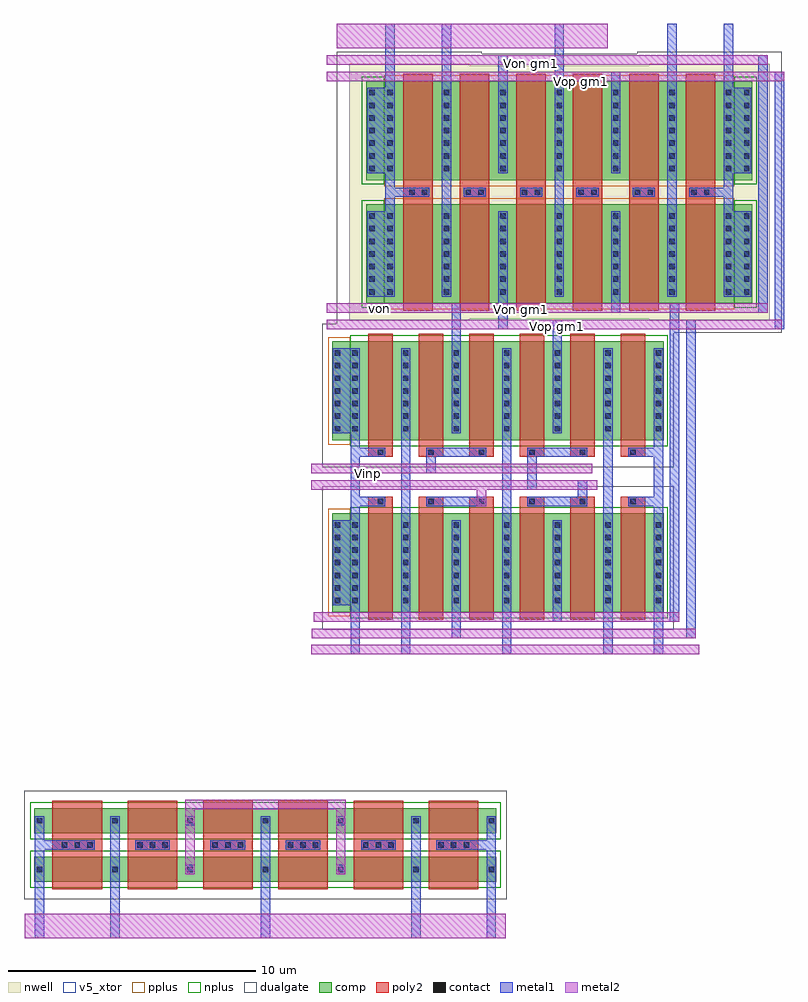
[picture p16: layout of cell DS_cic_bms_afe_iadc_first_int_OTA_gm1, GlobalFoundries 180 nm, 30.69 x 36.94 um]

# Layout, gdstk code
from math import pi, radians
import gdstk
lib = gdstk.Library(unit=1e-6, precision=5e-09)
def R(c, l, rs):  # rectangles x0, y0, x1, y1
    for r in rs: c.add(gdstk.rectangle(r[:2], r[2:], *l))
def A(c, l, x, y, w, h, nx, ny, dx, dy):  # array of equal rectangles
    R(c, l, [(x+i*dx, y+j*dy, x+i*dx+w, y+j*dy+h) for i in range(nx) for j in range(ny)])
nwell = (21, 0)
comp = (22, 0)
poly2 = (30, 0)
pplus = (31, 0)
nplus = (32, 0)
contact = (33, 0)
metal1 = (34, 0)
metal2 = (36, 0)
dualgate = (55, 0)
v5_xtor = (112, 1)

pfet_1_10 = lib.new_cell('pfet$1$10')
R(pfet_1_10, nwell, [(-1.15,-0.69,3.7,4.69)])
R(pfet_1_10, comp, [(-0.46,0,0,4), (0,0,1.82,4), (1.82,0,2.28,4), (2.28,0,3.01,4)])
R(pfet_1_10, poly2, [(0.31,-0.3,1.51,4.3), (0.31,4.3,1.51,4.68)])
R(pfet_1_10, pplus, [(-0.63,-0.24,2.28,4.24)])
R(pfet_1_10, nplus, [(2.28,-0.17,3.18,4.17)])
A(pfet_1_10, contact, -0.34, 0.36, 0.22, 0.22, 1, 7, 0, 0.51)
A(pfet_1_10, contact, 1.94, 0.36, 0.22, 0.22, 1, 7, 0, 0.51)
A(pfet_1_10, contact, 2.67, 0.36, 0.22, 0.22, 1, 7, 0, 0.51)
R(pfet_1_10, contact, [(0.545,4.38,0.765,4.6), (1.055,4.38,1.275,4.6)])
R(pfet_1_10, metal1, [(-0.42,0.28,-0.04,3.72), (1.86,0.28,2.24,3.72), (2.59,0.28,2.97,3.72), (0.465,4.3,1.355,4.68)])
R(pfet_1_10, dualgate, [(-1.65,-1.19,4.2,5.19)])
R(pfet_1_10, v5_xtor, [(-1.65,-1.19,4.2,5.19)])

nfet_1_2 = lib.new_cell('nfet$1$2')
R(nfet_1_2, comp, [(-0.42,0,0,4), (0,0,1.62,4), (1.62,0,2.04,4), (2.04,0,2.75,4)])
R(nfet_1_2, poly2, [(0.31,-0.3,1.31,4.3), (0.31,4.3,1.31,4.66)])
R(nfet_1_2, pplus, [(2.04,-0.17,2.92,4.17)])
R(nfet_1_2, nplus, [(-0.59,-0.24,2.04,4.24)])
A(nfet_1_2, contact, -0.32, 0.36, 0.22, 0.22, 1, 7, 0, 0.51)
A(nfet_1_2, contact, 1.72, 0.36, 0.22, 0.22, 1, 7, 0, 0.51)
A(nfet_1_2, contact, 2.43, 0.36, 0.22, 0.22, 1, 7, 0, 0.51)
R(nfet_1_2, contact, [(0.7,4.37,0.92,4.59)])
R(nfet_1_2, metal1, [(-0.4,0.28,-0.02,3.72), (1.64,0.28,2.02,3.72), (2.35,0.28,2.73,3.72), (0.62,4.29,1,4.67)])
R(nfet_1_2, dualgate, [(-0.84,-0.71,3.17,5.08)])
R(nfet_1_2, v5_xtor, [(-0.84,-0.71,3.17,5.08)])

nfet_14 = lib.new_cell('nfet$14')
R(nfet_14, comp, [(-0.42,0,0,4), (0,0,1.62,4), (1.62,0,2.04,4)])
R(nfet_14, poly2, [(0.31,-0.3,1.31,4.3), (0.31,4.3,1.31,4.66)])
R(nfet_14, nplus, [(-0.59,-0.24,2.21,4.24)])
A(nfet_14, contact, -0.32, 0.36, 0.22, 0.22, 1, 7, 0, 0.51)
A(nfet_14, contact, 1.72, 0.36, 0.22, 0.22, 1, 7, 0, 0.51)
R(nfet_14, contact, [(0.7,4.37,0.92,4.59)])
R(nfet_14, metal1, [(-0.4,0.28,-0.02,3.72), (1.64,0.28,2.02,3.72), (0.62,4.29,1,4.67)])
R(nfet_14, dualgate, [(-0.84,-0.71,2.46,5.08)])
R(nfet_14, v5_xtor, [(-0.84,-0.71,2.46,5.08)])

nfet_6_6 = lib.new_cell('nfet$6$6')
R(nfet_6_6, comp, [(-0.42,0,0,1), (0,0,2.62,1), (2.62,0,3.04,1)])
R(nfet_6_6, poly2, [(0.31,-0.3,2.31,1.3), (0.31,1.3,2.31,1.66)])
R(nfet_6_6, nplus, [(-0.59,-0.24,3.21,1.24)])
A(nfet_6_6, contact, 0.69, 1.37, 0.22, 0.22, 3, 1, 0.51, 0)
R(nfet_6_6, contact, [(-0.32,0.39,-0.1,0.61), (2.72,0.39,2.94,0.61)])
R(nfet_6_6, metal1, [(-0.4,0.31,-0.02,0.69), (2.64,0.31,3.02,0.69), (0.61,1.29,2.01,1.67)])
R(nfet_6_6, dualgate, [(-0.84,-0.71,3.46,2.08)])
R(nfet_6_6, v5_xtor, [(-0.84,-0.71,3.46,2.08)])

pfet_16 = lib.new_cell('pfet$16')
R(pfet_16, nwell, [(-1.07,-0.61,2.89,4.61)])
R(pfet_16, comp, [(-0.46,0,0,4), (0,0,1.82,4), (1.82,0,2.28,4)])
R(pfet_16, poly2, [(0.31,-0.3,1.51,4.3), (0.31,4.3,1.51,4.68)])
R(pfet_16, pplus, [(-0.63,-0.24,2.45,4.24)])
A(pfet_16, contact, -0.34, 0.36, 0.22, 0.22, 1, 7, 0, 0.51)
A(pfet_16, contact, 1.94, 0.36, 0.22, 0.22, 1, 7, 0, 0.51)
R(pfet_16, contact, [(0.545,4.38,0.765,4.6), (1.055,4.38,1.275,4.6)])
R(pfet_16, metal1, [(-0.42,0.28,-0.04,3.72), (1.86,0.28,2.24,3.72), (0.465,4.3,1.355,4.68)])
R(pfet_16, dualgate, [(-1.57,-1.11,3.39,5.11), (-0.88,-0.71,2.7,5.09)])
R(pfet_16, v5_xtor, [(-1.57,-1.11,3.39,5.11), (-0.88,-0.71,2.7,5.09)])

ds_cic_bms_afe_iadc_firs = lib.new_cell('DS_cic_bms_afe_iadc_first_int_OTA_gm1')
R(ds_cic_bms_afe_iadc_firs, metal1, [(84.995,93.87,86.085,97.31), (84.995,100.81,86.085,104.25), (86.375,106.34,87.485,109.78), (100.785,106.34,101.895,109.78), (86.375,111.32,87.485,114.76), (100.785,111.32,101.895,114.76)])
ds_cic_bms_afe_iadc_firs.add(gdstk.FlexPath([(73.15,85.36),(73.15,80.42)], 0.38, ends="flush", simple_path=True, layer=34, datatype=0))  # metal1
ds_cic_bms_afe_iadc_firs.add(gdstk.FlexPath([(76.19,85.36),(76.19,80.42)], 0.38, ends="flush", simple_path=True, layer=34, datatype=0))  # metal1
ds_cic_bms_afe_iadc_firs.add(gdstk.FlexPath([(75.37,84.19),(72.96,84.19)], 0.38, ends="flush", simple_path=True, layer=34, datatype=0))  # metal1
ds_cic_bms_afe_iadc_firs.add(gdstk.FlexPath([(82.27,85.36),(82.27,80.42)], 0.38, ends="flush", simple_path=True, layer=34, datatype=0))  # metal1
ds_cic_bms_afe_iadc_firs.add(gdstk.FlexPath([(88.35,85.36),(88.35,80.42)], 0.38, ends="flush", simple_path=True, layer=34, datatype=0))  # metal1
ds_cic_bms_afe_iadc_firs.add(gdstk.FlexPath([(91.39,85.36),(91.39,80.42)], 0.38, ends="flush", simple_path=True, layer=34, datatype=0))  # metal1
ds_cic_bms_afe_iadc_firs.add(gdstk.FlexPath([(89.17,84.19),(91.58,84.19)], 0.38, ends="flush", simple_path=True, layer=34, datatype=0))  # metal1
ds_cic_bms_afe_iadc_firs.add(gdstk.FlexPath([(88.955,100.24),(88.955,99.2)], 0.38, ends="flush", simple_path=True, layer=34, datatype=0))  # metal1
ds_cic_bms_afe_iadc_firs.add(gdstk.FlexPath([(88.765,100.05),(91.185,100.05)], 0.38, ends="flush", simple_path=True, layer=34, datatype=0))  # metal1
ds_cic_bms_afe_iadc_firs.add(gdstk.FlexPath([(92.845,98.07),(95.265,98.07),(95.265,98.07)], 0.38, ends="flush", simple_path=True, layer=34, datatype=0))  # metal1
ds_cic_bms_afe_iadc_firs.add(gdstk.FlexPath([(92.845,100.05),(95.265,100.05)], 0.38, ends="flush", simple_path=True, layer=34, datatype=0))  # metal1
ds_cic_bms_afe_iadc_firs.add(gdstk.FlexPath([(88.765,98.07),(91.185,98.07)], 0.38, ends="flush", simple_path=True, layer=34, datatype=0))  # metal1
ds_cic_bms_afe_iadc_firs.add(gdstk.FlexPath([(93.035,100.24),(93.035,98.54)], 0.38, ends="flush", simple_path=True, layer=34, datatype=0))  # metal1
ds_cic_bms_afe_iadc_firs.add(gdstk.FlexPath([(95.075,97.88),(95.075,98.92)], 0.38, ends="flush", simple_path=True, layer=34, datatype=0))  # metal1
ds_cic_bms_afe_iadc_firs.add(gdstk.FlexPath([(87.105,98.07),(85.705,98.07)], 0.38, ends="flush", simple_path=True, layer=34, datatype=0))  # metal1
ds_cic_bms_afe_iadc_firs.add(gdstk.FlexPath([(87.105,100.05),(85.705,100.05)], 0.38, ends="flush", simple_path=True, layer=34, datatype=0))  # metal1
ds_cic_bms_afe_iadc_firs.add(gdstk.FlexPath([(96.925,100.05),(98.325,100.05)], 0.38, ends="flush", simple_path=True, layer=34, datatype=0))  # metal1
ds_cic_bms_afe_iadc_firs.add(gdstk.FlexPath([(96.925,98.07),(98.325,98.07)], 0.38, ends="flush", simple_path=True, layer=34, datatype=0))  # metal1
ds_cic_bms_afe_iadc_firs.add(gdstk.FlexPath([(98.135,104.25),(98.135,91.89)], 0.38, ends="flush", simple_path=True, layer=34, datatype=0))  # metal1
ds_cic_bms_afe_iadc_firs.add(gdstk.FlexPath([(85.895,104.25),(85.895,91.89)], 0.38, ends="flush", simple_path=True, layer=34, datatype=0))  # metal1
ds_cic_bms_afe_iadc_firs.add(gdstk.FlexPath([(96.095,104.25),(96.095,91.89)], 0.38, ends="flush", simple_path=True, layer=34, datatype=0))  # metal1
ds_cic_bms_afe_iadc_firs.add(gdstk.FlexPath([(92.015,104.25),(92.015,91.89)], 0.38, ends="flush", simple_path=True, layer=34, datatype=0))  # metal1
ds_cic_bms_afe_iadc_firs.add(gdstk.FlexPath([(87.935,104.25),(87.935,91.89)], 0.38, ends="flush", simple_path=True, layer=34, datatype=0))  # metal1
ds_cic_bms_afe_iadc_firs.add(gdstk.FlexPath([(98.795,93.21),(98.795,106.06)], 0.38, ends="flush", simple_path=True, layer=34, datatype=0))  # metal1
ds_cic_bms_afe_iadc_firs.add(gdstk.FlexPath([(99.455,92.55),(99.455,105.4)], 0.38, ends="flush", simple_path=True, layer=34, datatype=0))  # metal1
ds_cic_bms_afe_iadc_firs.add(gdstk.FlexPath([(89.975,100.81),(89.975,106.06)], 0.38, ends="flush", simple_path=True, layer=34, datatype=0))  # metal1
ds_cic_bms_afe_iadc_firs.add(gdstk.FlexPath([(94.055,100.81),(94.055,105.4)], 0.38, ends="flush", simple_path=True, layer=34, datatype=0))  # metal1
ds_cic_bms_afe_iadc_firs.add(gdstk.FlexPath([(89.975,97.31),(89.975,92.55)], 0.38, ends="flush", simple_path=True, layer=34, datatype=0))  # metal1
ds_cic_bms_afe_iadc_firs.add(gdstk.FlexPath([(94.055,97.31),(94.055,93.21)], 0.38, ends="flush", simple_path=True, layer=34, datatype=0))  # metal1
ds_cic_bms_afe_iadc_firs.add(gdstk.FlexPath([(99.39,110.55),(101.165,110.55)], 0.38, ends="flush", simple_path=True, layer=34, datatype=0))  # metal1
ds_cic_bms_afe_iadc_firs.add(gdstk.FlexPath([(96.415,111.32),(96.415,115.42)], 0.38, ends="flush", simple_path=True, layer=34, datatype=0))  # metal1
ds_cic_bms_afe_iadc_firs.add(gdstk.FlexPath([(91.855,109.78),(91.855,105.02)], 0.38, ends="flush", simple_path=True, layer=34, datatype=0))  # metal1
ds_cic_bms_afe_iadc_firs.add(gdstk.FlexPath([(96.415,109.78),(96.415,105.68)], 0.38, ends="flush", simple_path=True, layer=34, datatype=0))  # metal1
ds_cic_bms_afe_iadc_firs.add(gdstk.FlexPath([(91.855,111.4),(91.855,116.08)], 0.38, ends="flush", simple_path=True, layer=34, datatype=0))  # metal1
ds_cic_bms_afe_iadc_firs.add(gdstk.FlexPath([(103.02,115.42),(103.02,105.02)], 0.38, ends="flush", simple_path=True, layer=34, datatype=0))  # metal1
ds_cic_bms_afe_iadc_firs.add(gdstk.FlexPath([(102.365,116.08),(102.365,105.68)], 0.38, ends="flush", simple_path=True, layer=34, datatype=0))  # metal1
ds_cic_bms_afe_iadc_firs.add(gdstk.FlexPath([(88.88,110.55),(87.105,110.55)], 0.38, ends="flush", simple_path=True, layer=34, datatype=0))  # metal1
ds_cic_bms_afe_iadc_firs.add(gdstk.FlexPath([(94.135,106.34),(94.135,117.36)], 0.38, ends="flush", simple_path=True, layer=34, datatype=0))  # metal1
ds_cic_bms_afe_iadc_firs.add(gdstk.FlexPath([(98.695,106.34),(98.695,117.36)], 0.38, ends="flush", simple_path=True, layer=34, datatype=0))  # metal1
ds_cic_bms_afe_iadc_firs.add(gdstk.FlexPath([(100.975,106.34),(100.975,116.73),(100.975,117.36)], 0.38, ends="flush", simple_path=True, layer=34, datatype=0))  # metal1
ds_cic_bms_afe_iadc_firs.add(gdstk.FlexPath([(89.575,106.34),(89.575,117.36)], 0.38, ends="flush", simple_path=True, layer=34, datatype=0))  # metal1
ds_cic_bms_afe_iadc_firs.add(gdstk.FlexPath([(87.295,106.34),(87.295,117.36)], 0.38, ends="flush", simple_path=True, layer=34, datatype=0))  # metal1
ds_cic_bms_afe_iadc_firs.add(gdstk.FlexPath([(79.04,85.83),(85.52,85.83)], 0.38, ends="flush", simple_path=True, layer=36, datatype=0))  # metal2
ds_cic_bms_afe_iadc_firs.add(gdstk.FlexPath([(79.23,83.02),(79.23,86.02),(79.23,86.02),(79.23,86.02)], 0.38, ends="flush", simple_path=True, layer=36, datatype=0))  # metal2
ds_cic_bms_afe_iadc_firs.add(gdstk.FlexPath([(85.31,83.02),(85.31,86.02)], 0.38, ends="flush", simple_path=True, layer=36, datatype=0))  # metal2
ds_cic_bms_afe_iadc_firs.add(gdstk.FlexPath([(91.965,80.92),(72.55,80.92)], 1, ends="flush", simple_path=True, layer=36, datatype=0))  # metal2
ds_cic_bms_afe_iadc_firs.add(gdstk.FlexPath([(85.145,116.86),(96.095,116.86)], 1, ends="flush", simple_path=True, layer=36, datatype=0))  # metal2
ds_cic_bms_afe_iadc_firs.add(gdstk.FlexPath([(90.995,97.88),(90.995,98.92)], 0.38, ends="flush", simple_path=True, layer=36, datatype=0))  # metal2
ds_cic_bms_afe_iadc_firs.add(gdstk.FlexPath([(84.11,98.73),(95.67,98.73)], 0.38, ends="flush", simple_path=True, layer=36, datatype=0))  # metal2
ds_cic_bms_afe_iadc_firs.add(gdstk.FlexPath([(84.11,99.39),(95.465,99.39)], 0.38, ends="flush", simple_path=True, layer=36, datatype=0))  # metal2
ds_cic_bms_afe_iadc_firs.add(gdstk.FlexPath([(84.14,92.74),(99.645,92.74)], 0.38, ends="flush", simple_path=True, layer=36, datatype=0))  # metal2
ds_cic_bms_afe_iadc_firs.add(gdstk.FlexPath([(84.215,93.4),(98.985,93.4)], 0.38, ends="flush", simple_path=True, layer=36, datatype=0))  # metal2
ds_cic_bms_afe_iadc_firs.add(gdstk.FlexPath([(84.11,92.08),(99.785,92.08)], 0.38, ends="flush", simple_path=True, layer=36, datatype=0))  # metal2
ds_cic_bms_afe_iadc_firs.add(gdstk.FlexPath([(84.74,105.21),(103.125,105.21)], 0.38, ends="flush", simple_path=True, layer=36, datatype=0))  # metal2
ds_cic_bms_afe_iadc_firs.add(gdstk.FlexPath([(84.74,105.87),(102.555,105.87)], 0.38, ends="flush", simple_path=True, layer=36, datatype=0))  # metal2
ds_cic_bms_afe_iadc_firs.add(gdstk.FlexPath([(84.74,115.23),(103.21,115.23)], 0.38, ends="flush", simple_path=True, layer=36, datatype=0))  # metal2
ds_cic_bms_afe_iadc_firs.add(gdstk.FlexPath([(84.74,115.89),(102.555,115.89)], 0.38, ends="flush", simple_path=True, layer=36, datatype=0))  # metal2
ds_cic_bms_afe_iadc_firs.add(gdstk.Reference(pfet_1_10, (89.345,106.06), rotation=pi, x_reflection=True))
ds_cic_bms_afe_iadc_firs.add(gdstk.Reference(pfet_1_10, (98.925,106.06)))
ds_cic_bms_afe_iadc_firs.add(gdstk.Reference(nfet_1_2, (87.725,104.53), rotation=pi))
ds_cic_bms_afe_iadc_firs.add(gdstk.Reference(nfet_1_2, (87.725,93.59), rotation=pi, x_reflection=True))
ds_cic_bms_afe_iadc_firs.add(gdstk.Reference(nfet_14, (97.925,93.59), rotation=pi, x_reflection=True))
ds_cic_bms_afe_iadc_firs.add(gdstk.Reference(nfet_14, (95.885,93.59), rotation=pi, x_reflection=True))
ds_cic_bms_afe_iadc_firs.add(gdstk.Reference(nfet_14, (93.845,93.59), rotation=pi, x_reflection=True))
ds_cic_bms_afe_iadc_firs.add(gdstk.Reference(nfet_14, (89.765,93.59), rotation=pi, x_reflection=True))
ds_cic_bms_afe_iadc_firs.add(gdstk.Reference(nfet_14, (91.805,93.59), rotation=pi, x_reflection=True))
ds_cic_bms_afe_iadc_firs.add(gdstk.Reference(nfet_14, (97.925,104.53), rotation=pi))
ds_cic_bms_afe_iadc_firs.add(gdstk.Reference(nfet_14, (95.885,104.53), rotation=pi))
ds_cic_bms_afe_iadc_firs.add(gdstk.Reference(nfet_14, (93.845,104.53), rotation=pi))
ds_cic_bms_afe_iadc_firs.add(gdstk.Reference(nfet_14, (89.765,104.53), rotation=pi))
ds_cic_bms_afe_iadc_firs.add(gdstk.Reference(nfet_14, (91.805,104.53), rotation=pi))
ds_cic_bms_afe_iadc_firs.add(gdstk.Reference(nfet_6_6, (85.1,85.67), rotation=pi))
ds_cic_bms_afe_iadc_firs.add(gdstk.Reference(nfet_6_6, (88.14,85.67), rotation=pi))
ds_cic_bms_afe_iadc_firs.add(gdstk.Reference(nfet_6_6, (91.18,85.67), rotation=pi))
ds_cic_bms_afe_iadc_firs.add(gdstk.Reference(nfet_6_6, (75.98,85.67), rotation=pi))
ds_cic_bms_afe_iadc_firs.add(gdstk.Reference(nfet_6_6, (79.02,85.67), rotation=pi))
ds_cic_bms_afe_iadc_firs.add(gdstk.Reference(nfet_6_6, (82.06,85.67), rotation=pi))
ds_cic_bms_afe_iadc_firs.add(gdstk.Reference(nfet_6_6, (85.1,82.71), rotation=pi, x_reflection=True))
ds_cic_bms_afe_iadc_firs.add(gdstk.Reference(nfet_6_6, (88.14,82.71), rotation=pi, x_reflection=True))
ds_cic_bms_afe_iadc_firs.add(gdstk.Reference(nfet_6_6, (91.18,82.71), rotation=pi, x_reflection=True))
ds_cic_bms_afe_iadc_firs.add(gdstk.Reference(nfet_6_6, (75.98,82.71), rotation=pi, x_reflection=True))
ds_cic_bms_afe_iadc_firs.add(gdstk.Reference(nfet_6_6, (79.02,82.71), rotation=pi, x_reflection=True))
ds_cic_bms_afe_iadc_firs.add(gdstk.Reference(nfet_6_6, (82.06,82.71), rotation=pi, x_reflection=True))
ds_cic_bms_afe_iadc_firs.add(gdstk.Reference(pfet_16, (91.625,106.06), rotation=pi, x_reflection=True))
ds_cic_bms_afe_iadc_firs.add(gdstk.Reference(pfet_16, (93.905,106.06), rotation=pi, x_reflection=True))
ds_cic_bms_afe_iadc_firs.add(gdstk.Reference(pfet_16, (98.465,106.06), rotation=pi, x_reflection=True))
ds_cic_bms_afe_iadc_firs.add(gdstk.Reference(pfet_16, (96.185,106.06), rotation=pi, x_reflection=True))
ds_cic_bms_afe_iadc_firs.add(gdstk.Reference(pfet_1_10, (98.925,115.04), x_reflection=True))
ds_cic_bms_afe_iadc_firs.add(gdstk.Reference(pfet_1_10, (89.345,115.04), rotation=pi))
ds_cic_bms_afe_iadc_firs.add(gdstk.Reference(pfet_16, (96.185,115.04), rotation=pi))
ds_cic_bms_afe_iadc_firs.add(gdstk.Reference(pfet_16, (98.465,115.04), rotation=pi))
ds_cic_bms_afe_iadc_firs.add(gdstk.Reference(pfet_16, (93.905,115.04), rotation=pi))
ds_cic_bms_afe_iadc_firs.add(gdstk.Reference(pfet_16, (91.625,115.04), rotation=pi))
ds_cic_bms_afe_iadc_firs.add(gdstk.Label('Vinp', (86.445,99.2), layer=36, texttype=0))
ds_cic_bms_afe_iadc_firs.add(gdstk.Label('Vinn', (86.435,98.67), layer=36, texttype=0))
ds_cic_bms_afe_iadc_firs.add(gdstk.Label('Vop gm1', (95.03,115.04), layer=36, texttype=0))
ds_cic_bms_afe_iadc_firs.add(gdstk.Label('Vop gm1', (94.045,105.12), layer=36, texttype=0))
ds_cic_bms_afe_iadc_firs.add(gdstk.Label('Von gm1', (92.6,105.82), layer=36, texttype=0))
ds_cic_bms_afe_iadc_firs.add(gdstk.Label('Von gm1', (92.995,115.75), layer=36, texttype=0))
ds_cic_bms_afe_iadc_firs.add(gdstk.Label('von', (86.87,105.87), layer=36, texttype=10))

lib.write_gds('DS_cic_bms_afe_iadc_first_int_OTA_gm1.gds')
